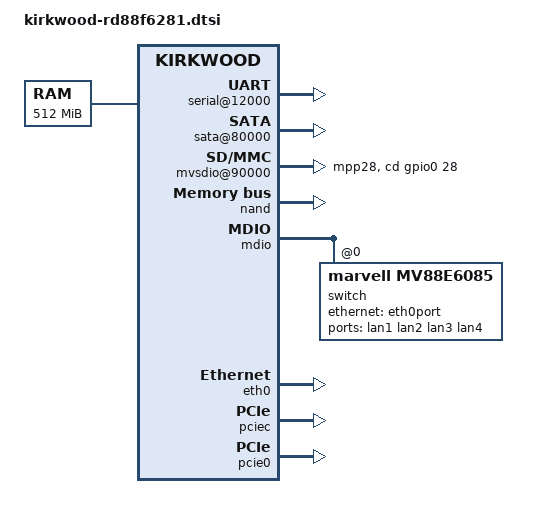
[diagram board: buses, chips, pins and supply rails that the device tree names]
// SPDX-License-Identifier: GPL-2.0
/*
 * Marvell RD88F6181 Common Board descrition
 *
 * Andrew Lunn <andrew@lunn.ch>
 *
 * This file contains the definitions that are common between the two
 * variants of the Marvell Kirkwood Development Board.
 */

#include "kirkwood.dtsi"
#include "kirkwood-6281.dtsi"

/ {
	memory {
		device_type = "memory";
		reg = <0x00000000 0x20000000>;
	};

	chosen {
		bootargs = "console=ttyS0,115200n8";
		stdout-path = &uart0;
	};

	ocp@f1000000 {
		pinctrl: pin-controller@10000 {
			pinctrl-names = "default";

			pmx_sdio_cd: pmx-sdio-cd {
				marvell,pins = "mpp28";
				marvell,function = "gpio";
			};
		};

		serial@12000 {
			status = "okay";

		};

		sata@80000 {
			status = "okay";
			nr-ports = <2>;
		};
		mvsdio@90000 {
			pinctrl-0 = <&pmx_sdio &pmx_sdio_cd>;
			pinctrl-names = "default";
			status = "okay";
			cd-gpios = <&gpio0 28 GPIO_ACTIVE_HIGH>;
			/* No WP GPIO */
		};
	};
};

&nand {
	status = "okay";

	partition@0 {
		label = "u-boot";
		reg = <0x0000000 0x100000>;
		read-only;
	};

	partition@100000 {
		label = "uImage";
		reg = <0x0100000 0x200000>;
	};

	partition@300000 {
		label = "rootfs";
		reg = <0x0300000 0x500000>;
	};
};

&mdio {
	status = "okay";

	switch: switch@0 {
		compatible = "marvell,mv88e6085";
		#address-cells = <1>;
		#size-cells = <0>;

		ports {
			#address-cells = <1>;
			#size-cells = <0>;

			port@0 {
				reg = <0>;
				label = "lan1";
			};

			port@1 {
				reg = <1>;
				label = "lan2";
			};

			port@2 {
				reg = <2>;
				label = "lan3";
			};

			port@3 {
				reg = <3>;
				label = "lan4";
			};

			port@5 {
				reg = <5>;
				phy-mode = "rgmii-id";
				ethernet = <&eth0port>;
				fixed-link {
					speed = <1000>;
					full-duplex;
				};
			};

		};
	};
};

&eth0 {
	status = "okay";
	ethernet0-port@0 {
		speed = <1000>;
		duplex = <1>;
	};
};

&pciec {
	status = "okay";
};

&pcie0 {
	status = "okay";
};
